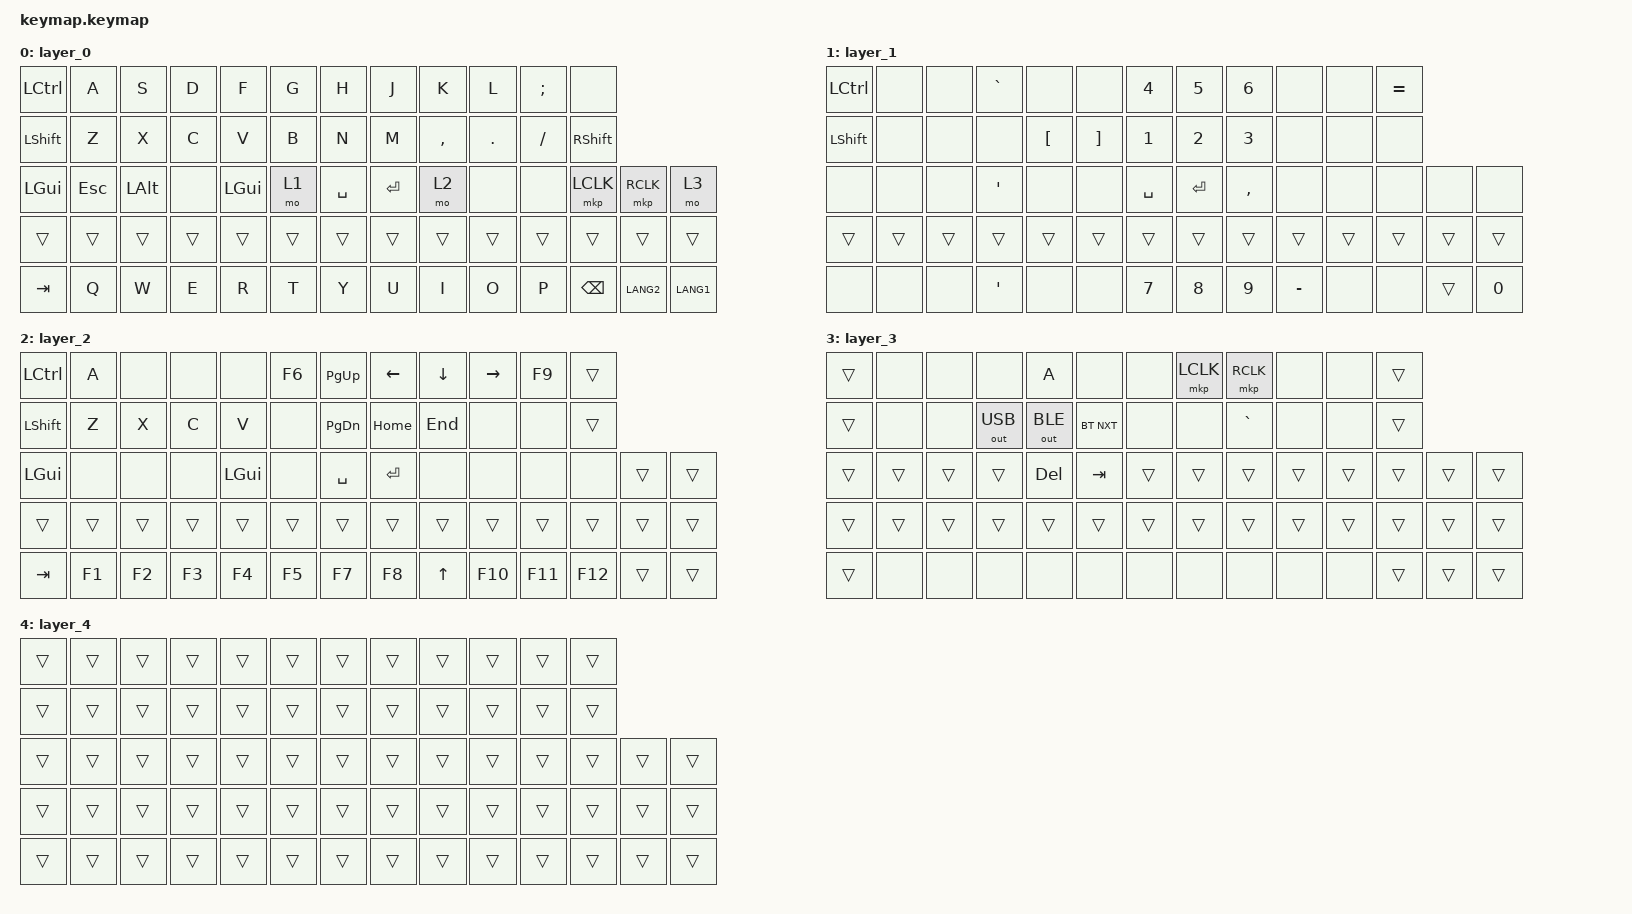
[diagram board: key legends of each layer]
#include <behaviors.dtsi>
#include <dt-bindings/zmk/bt.h>
#include <dt-bindings/zmk/keys.h>
#include <dt-bindings/zmk/outputs.h>
#include <dt-bindings/zmk/pointing.h>

/*
 * Compile-time default keymap, rebuilt from DYA Studio (Keyboard Abyss) exports
 * mapped through position_map_m_1 (M Layout). Layers 0-2 from the 2026-09-08
 * export; layer 3 from 2026-09-07 (its BT/output bindings survived that read).
 * The board keeps its web-saved keymap across normal firmware updates - this
 * only seeds a fresh board or a settings_reset. Unresolved export bindings
 * became &none; refine them in DYA Studio.
 */
/ {
    combos {
        compatible = "zmk,combos";

        bt_clear {
            bindings = <&bt BT_CLR>;
            key-positions = <28 29>;
            layers = <2>;
        };
    };

    keymap {
        compatible = "zmk,keymap";

        layer_0 {
            // Layer 1
            bindings = <
                &kp LCTRL  &kp A  &kp S  &kp D  &kp F  &kp G  &kp H  &kp J  &kp K  &kp L  &kp SEMI  &none
                &kp LSHFT  &kp Z  &kp X  &kp C  &kp V  &kp B  &kp N  &kp M  &kp COMMA  &kp DOT  &kp FSLH  &kp RSHFT
                &kp LGUI  &kp ESC  &kp LALT  &none  &kp LGUI  &mo 1  &kp SPACE  &kp RET  &mo 2  &none  &none  &mkp LCLK  &mkp RCLK  &mo 3
                &trans  &trans  &trans  &trans  &trans  &trans  &trans  &trans  &trans  &trans  &trans  &trans  &trans  &trans
                &kp TAB  &kp Q  &kp W  &kp E  &kp R  &kp T  &kp Y  &kp U  &kp I  &kp O  &kp P  &kp BSPC  &kp LANG2  &kp LANG1
            >;
        };

        layer_1 {
            // Layer 2
            bindings = <
                &kp LCTRL  &none  &none  &kp GRAVE  &none  &none  &kp N4  &kp N5  &kp N6  &none  &none  &kp EQUAL
                &kp LSHFT  &none  &none  &none  &kp LBKT  &kp RBKT  &kp N1  &kp N2  &kp N3  &none  &none  &none
                &none  &none  &none  &kp SQT  &none  &none  &kp SPACE  &kp RET  &kp COMMA  &none  &none  &none  &none  &none
                &trans  &trans  &trans  &trans  &trans  &trans  &trans  &trans  &trans  &trans  &trans  &trans  &trans  &trans
                &none  &none  &none  &kp SQT  &none  &none  &kp N7  &kp N8  &kp N9  &kp MINUS  &none  &none  &trans  &kp N0
            >;
        };

        layer_2 {
            // Layer 3
            bindings = <
                &kp LCTRL  &kp A  &none  &none  &none  &kp F6  &kp PG_UP  &kp LEFT  &kp DOWN  &kp RIGHT  &kp F9  &trans
                &kp LSHFT  &kp Z  &kp X  &kp C  &kp V  &none  &kp PG_DN  &kp HOME  &kp END  &none  &none  &trans
                &kp LGUI  &none  &none  &none  &kp LGUI  &none  &kp SPACE  &kp RET  &none  &none  &none  &none  &trans  &trans
                &trans  &trans  &trans  &trans  &trans  &trans  &trans  &trans  &trans  &trans  &trans  &trans  &trans  &trans
                &kp TAB  &kp F1  &kp F2  &kp F3  &kp F4  &kp F5  &kp F7  &kp F8  &kp UP  &kp F10  &kp F11  &kp F12  &trans  &trans
            >;
        };

        layer_3 {
            // Layer 4
            bindings = <
                &trans  &none  &none  &none  &kp A  &none  &none  &mkp LCLK  &mkp RCLK  &none  &none  &trans
                &trans  &none  &none  &out OUT_USB  &out OUT_BLE  &bt BT_NXT  &none  &none  &kp GRAVE  &none  &none  &trans
                &trans  &trans  &trans  &trans  &kp DEL  &kp TAB  &trans  &trans  &trans  &trans  &trans  &trans  &trans  &trans
                &trans  &trans  &trans  &trans  &trans  &trans  &trans  &trans  &trans  &trans  &trans  &trans  &trans  &trans
                &trans  &none  &none  &none  &none  &none  &none  &none  &none  &none  &none  &trans  &trans  &trans
            >;
        };

        layer_4 {
            // Layer 5 (empty - assign in DYA Studio; add a &mo 4 / &to 4 key to reach it)
            bindings = <
                &trans  &trans  &trans  &trans  &trans  &trans  &trans  &trans  &trans  &trans  &trans  &trans
                &trans  &trans  &trans  &trans  &trans  &trans  &trans  &trans  &trans  &trans  &trans  &trans
                &trans  &trans  &trans  &trans  &trans  &trans  &trans  &trans  &trans  &trans  &trans  &trans  &trans  &trans
                &trans  &trans  &trans  &trans  &trans  &trans  &trans  &trans  &trans  &trans  &trans  &trans  &trans  &trans
                &trans  &trans  &trans  &trans  &trans  &trans  &trans  &trans  &trans  &trans  &trans  &trans  &trans  &trans
            >;
        };

    };
};
